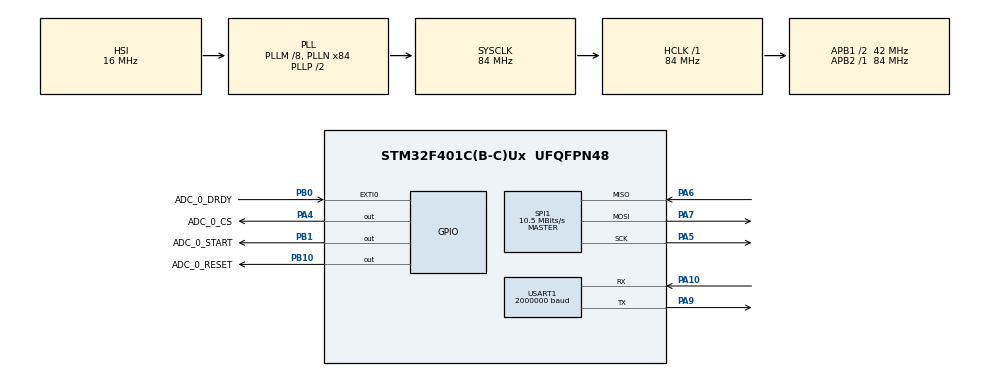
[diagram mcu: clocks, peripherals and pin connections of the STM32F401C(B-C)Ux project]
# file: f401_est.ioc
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Dma.Request0=USART1_RX
Dma.Request1=USART1_TX
Dma.USART1_RX.0.Direction=DMA_PERIPH_TO_MEMORY
Dma.USART1_RX.0.FIFOMode=DMA_FIFOMODE_DISABLE
Dma.USART1_RX.0.Instance=DMA2_Stream2
Dma.USART1_RX.0.MemDataAlignment=DMA_MDATAALIGN_BYTE
Dma.USART1_RX.0.MemInc=DMA_MINC_ENABLE
Dma.USART1_RX.0.Mode=DMA_CIRCULAR
Dma.USART1_RX.0.PeriphDataAlignment=DMA_PDATAALIGN_BYTE
Dma.USART1_RX.0.PeriphInc=DMA_PINC_DISABLE
Dma.USART1_RX.0.Priority=DMA_PRIORITY_LOW
Dma.USART1_TX.1.Direction=DMA_MEMORY_TO_PERIPH
Dma.USART1_TX.1.FIFOMode=DMA_FIFOMODE_DISABLE
Dma.USART1_TX.1.Instance=DMA2_Stream7
Dma.USART1_TX.1.MemDataAlignment=DMA_MDATAALIGN_BYTE
Dma.USART1_TX.1.MemInc=DMA_MINC_ENABLE
Dma.USART1_TX.1.Mode=DMA_NORMAL
Dma.USART1_TX.1.PeriphDataAlignment=DMA_PDATAALIGN_BYTE
Dma.USART1_TX.1.PeriphInc=DMA_PINC_DISABLE
Dma.USART1_TX.1.Priority=DMA_PRIORITY_LOW
Mcu.Family=STM32F4
Mcu.Name=STM32F401C(B-C)Ux
Mcu.Package=UFQFPN48
NVIC.DMA2_Stream2_IRQn=true\:0\:0\:false\:false\:true\:false
NVIC.DMA2_Stream7_IRQn=true\:0\:0\:false\:false\:true\:false
NVIC.EXTI0_IRQn=true\:0\:0\:false\:false\:true\:true
NVIC.PriorityGroup=NVIC_PRIORITYGROUP_4
NVIC.SPI1_IRQn=true\:0\:0\:false\:false\:true\:true
PA10.Mode=Asynchronous
PA10.Signal=USART1_RX
PA4.GPIO_Label=ADC_0_CS
PA4.PinState=GPIO_PIN_SET
PA4.Signal=GPIO_Output
PA5.Mode=Full_Duplex_Master
PA5.Signal=SPI1_SCK
PA6.Mode=Full_Duplex_Master
PA6.Signal=SPI1_MISO
PA7.Mode=Full_Duplex_Master
PA7.Signal=SPI1_MOSI
PA9.Mode=Asynchronous
PA9.Signal=USART1_TX
PB0.GPIO_Label=ADC_0_DRDY
PB0.GPIO_ModeDefaultEXTI=GPIO_MODE_IT_FALLING
PB0.GPIO_PuPd=GPIO_PULLUP
PB0.Signal=GPXTI0
PB1.GPIO_Label=ADC_0_START
PB1.Signal=GPIO_Output
PB10.GPIO_Label=ADC_0_RESET
PB10.PinState=GPIO_PIN_SET
PB10.Signal=GPIO_Output
ProjectManager.HeapSize=0x200
ProjectManager.StackSize=0x400
ProjectManager.TargetToolchain=MDK-ARM V5
RCC.48MHZClocksFreq_Value=42000000
RCC.AHBFreq_Value=84000000
RCC.APB1CLKDivider=RCC_HCLK_DIV2
RCC.APB1Freq_Value=42000000
RCC.APB1TimFreq_Value=84000000
RCC.APB2Freq_Value=84000000
RCC.APB2TimFreq_Value=84000000
RCC.CortexFreq_Value=84000000
RCC.HCLKFreq_Value=84000000
RCC.HSE_VALUE=25000000
RCC.HSI_VALUE=16000000
RCC.LSE_VALUE=32768
RCC.PLLM=8
RCC.PLLN=84
RCC.SYSCLKFreq_VALUE=84000000
RCC.SYSCLKSource=RCC_SYSCLKSOURCE_PLLCLK
RCC.VCOOutputFreq_Value=168000000
SPI1.BaudRatePrescaler=SPI_BAUDRATEPRESCALER_8
SPI1.CLKPhase=SPI_PHASE_2EDGE
SPI1.CalculateBaudRate=10.5 MBits/s
SPI1.Direction=SPI_DIRECTION_2LINES
SPI1.Mode=SPI_MODE_MASTER
SPI1.VirtualType=VM_MASTER
USART1.BaudRate=2000000
USART1.VirtualMode=VM_ASYNC
board=custom

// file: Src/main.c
/* USER CODE BEGIN Header */
/**
  ******************************************************************************
  * @file           : main.c
  * @brief          : Main program body
  ******************************************************************************
  ** This notice applies to any and all portions of this file
  * that are not between comment pairs USER CODE BEGIN and
  * USER CODE END. Other portions of this file, whether
  * inserted by the user or by software development tools
  * are owned by their respective copyright owners.
  *
  * COPYRIGHT(c) 2019 STMicroelectronics
  *
  * Redistribution and use in source and binary forms, with or without modification,
  * are permitted provided that the following conditions are met:
  *   1. Redistributions of source code must retain the above copyright notice,
  *      this list of conditions and the following disclaimer.
  *   2. Redistributions in binary form must reproduce the above copyright notice,
  *      this list of conditions and the following disclaimer in the documentation
  *      and/or other materials provided with the distribution.
  *   3. Neither the name of STMicroelectronics nor the names of its contributors
  *      may be used to endorse or promote products derived from this software
  *      without specific prior written permission.
  *
  * THIS SOFTWARE IS PROVIDED BY THE COPYRIGHT HOLDERS AND CONTRIBUTORS "AS IS"
  * AND ANY EXPRESS OR IMPLIED WARRANTIES, INCLUDING, BUT NOT LIMITED TO, THE
  * IMPLIED WARRANTIES OF MERCHANTABILITY AND FITNESS FOR A PARTICULAR PURPOSE ARE
  * DISCLAIMED. IN NO EVENT SHALL THE COPYRIGHT HOLDER OR CONTRIBUTORS BE LIABLE
  * FOR ANY DIRECT, INDIRECT, INCIDENTAL, SPECIAL, EXEMPLARY, OR CONSEQUENTIAL
  * DAMAGES (INCLUDING, BUT NOT LIMITED TO, PROCUREMENT OF SUBSTITUTE GOODS OR
  * SERVICES; LOSS OF USE, DATA, OR PROFITS; OR BUSINESS INTERRUPTION) HOWEVER
  * CAUSED AND ON ANY THEORY OF LIABILITY, WHETHER IN CONTRACT, STRICT LIABILITY,
  * OR TORT (INCLUDING NEGLIGENCE OR OTHERWISE) ARISING IN ANY WAY OUT OF THE USE
  * OF THIS SOFTWARE, EVEN IF ADVISED OF THE POSSIBILITY OF SUCH DAMAGE.
  *
  ******************************************************************************
  */
/* USER CODE END Header */

#include "main.h"
#include "dma.h"
#include "spi.h"
#include "usart.h"
#include "gpio.h"

/* USER CODE BEGIN Includes */
#include <string.h>

/* USER CODE END Includes */

/* USER CODE BEGIN PD */
#define delayUs(x) { unsigned int _dcnt; \
      _dcnt=(x*16); \
      while(_dcnt-- > 0) \
      { continue; }\
     }

#define CMD_BYTE  0x41 //0x41 //0x69 //0x69-24daolian  0xf9-18daolian
#define PKT_LENGTH 22//22 //78
#define LED_B		GPIO_PIN_3
#define LED_G		GPIO_PIN_4
#define LED_R		GPIO_PIN_5

//1294 CONFIG
#define ADS1294_CS_L    		HAL_GPIO_WritePin(GPIOA, GPIO_PIN_4, GPIO_PIN_RESET)
#define ADS1294_CS_H    		HAL_GPIO_WritePin(GPIOA, GPIO_PIN_4, GPIO_PIN_SET)
#define ADS1294_START_L    	HAL_GPIO_WritePin(GPIOB, GPIO_PIN_1, GPIO_PIN_RESET)
#define ADS1294_START_H    	HAL_GPIO_WritePin(GPIOB, GPIO_PIN_1, GPIO_PIN_SET)
#define ADS1294_RESET_L    	HAL_GPIO_WritePin(GPIOB, GPIO_PIN_10, GPIO_PIN_RESET)
#define ADS1294_RESET_H    	HAL_GPIO_WritePin(GPIOB, GPIO_PIN_10, GPIO_PIN_SET)

#define RESET 	0x06
#define START   0x08
#define RDATAC	0x10
#define SDATAC	0x11
#define RDATA		0x12
#define RREG 0x20
#define WREG 0x40
#define ID_ADDR				0x00
#define CONFIG1_ADDR	0x01
#define CONFIG2_ADDR	0x02
#define CONFIG3_ADDR	0x03
#define LOFF					0x04

#define CH1SET_ADDR		0x05
#define RLD_SENSP     0x0D
#define RLD_SENSN			0x0E
#define LOFF_SENSP 		0x0F
#define LOFF_SENSN 		0x10
#define LOFF_FLIP 		0x11
#define	GPIO_ADDR			0x14
#define MISC1_ADDR		0x15
#define MISC2_ADDR		0x16
#define CONFIG4_ADDR	0x17
#define ADC1_SRB1			0x20
#define ADC2_SRB1			0x20

/* USER CODE END PD */

/* USER CODE BEGIN PV */

uint32_t g_time_seq;
uint16_t g_seq;
uint8_t g_pkt_buf[PKT_LENGTH];
uint8_t adc1_data_ready=0;
uint8_t g_adc1_buf[64];
uint8_t  aRxBuffer[100] ;
uint8_t send_flag=0;
uint8_t Res=0;
uint8_t g_ContiueSend=0;
uint32_t  g_mstimer=0;
/* USER CODE END PV */

void SystemClock_Config(void);

/* USER CODE BEGIN 0 */
void sendDataTo_device(UART_HandleTypeDef *huart, uint8_t *buf, uint16_t len)
{
		HAL_UART_Transmit_DMA(huart, buf, len);
}

void __printf(UART_HandleTypeDef *huart, uint8_t *buf, uint16_t len)
{
	for(uint16_t i=0;i<len;i++)
	{
		while((huart->Instance->SR & UART_FLAG_TC)==0);//循环发送,直到发送完毕
		huart->Instance->DR = buf[i];
	}
}

void ADS1299_RESET()
{
	ADS1294_RESET_L;
	HAL_Delay(1);
	ADS1294_RESET_H;
}

uint8_t ADS1294_WRITE(uint8_t *tmp_TXData, uint8_t len)
{
		uint8_t ret=0;

		uint8_t tmp_RXData[20];
		ADS1294_CS_L;
		ret=HAL_SPI_TransmitReceive(&hspi1, tmp_TXData, tmp_RXData, len, 1000);
		ADS1294_CS_H;
		delayUs(50);

	return ret;
}

void ADS1294_Init()
{
		uint8_t tmp_TXData[20];

		//soft reset
		memset(tmp_TXData, 0, sizeof(tmp_TXData));
		tmp_TXData[0] = RESET;
		ADS1294_WRITE(tmp_TXData, 1);

		HAL_Delay(10);

		//sdatac command
		memset(tmp_TXData, 0, sizeof(tmp_TXData));
		tmp_TXData[0] = SDATAC;
		ADS1294_WRITE(tmp_TXData, 1);

#if 1
		//write config 1
		memset(tmp_TXData, 0, sizeof(tmp_TXData));
		tmp_TXData[0] = WREG|CONFIG1_ADDR;
		tmp_TXData[1] = 0x00;
		tmp_TXData[2] = 0x64;//0x64; //0x64-1k , 0x63-2k, 0x62-4k, 0x61-8k
		ADS1294_WRITE(tmp_TXData, 3);

		//write config 2
		memset(tmp_TXData, 0, sizeof(tmp_TXData));
		tmp_TXData[0] = WREG|CONFIG2_ADDR;
		tmp_TXData[1] = 0x00;
		tmp_TXData[2] = 0x10;
		ADS1294_WRITE(tmp_TXData, 3);

		//write config 3
		memset(tmp_TXData, 0, sizeof(tmp_TXData));
		tmp_TXData[0] = WREG|CONFIG3_ADDR;
		tmp_TXData[1] = 0x00;
		tmp_TXData[2] = 0xD6;//0x40; //0x60  0xc0
		ADS1294_WRITE(tmp_TXData, 3);

		//write LOFF
		memset(tmp_TXData, 0, sizeof(tmp_TXData));
		tmp_TXData[0] = WREG|LOFF;
		tmp_TXData[1] = 0x00;
		tmp_TXData[2] = 0x13;//	0x1F		??DC????
		//tmp_TXData[2] = 0x0F;//			??DC????  DC??
		ADS1294_WRITE(tmp_TXData, 3);

		//write LOFF_SENSP
		memset(tmp_TXData, 0, sizeof(tmp_TXData));
		tmp_TXData[0] = WREG|LOFF_SENSP;
		tmp_TXData[1] = 0x00;
		tmp_TXData[2] = 0x01;//			??DC????
		ADS1294_WRITE(tmp_TXData, 3);

		//write LOFF_SENSN
		memset(tmp_TXData, 0, sizeof(tmp_TXData));
		tmp_TXData[0] = WREG|LOFF_SENSN;
		tmp_TXData[1] = 0x00;
		tmp_TXData[2] = 0x01;//			??DC????
		ADS1294_WRITE(tmp_TXData, 3);

		//write LOFF_FLIP
		memset(tmp_TXData, 0, sizeof(tmp_TXData));
		tmp_TXData[0] = WREG|LOFF_FLIP;
		tmp_TXData[1] = 0x00;
		tmp_TXData[2] = 0x00;//			??DC????
		ADS1294_WRITE(tmp_TXData, 3);

		//write config 4
		memset(tmp_TXData, 0, sizeof(tmp_TXData));
		tmp_TXData[0] = WREG|CONFIG4_ADDR;
		tmp_TXData[1] = 0x00;
		tmp_TXData[2] = 0x02; //SINGLE SHOT
		ADS1294_WRITE(tmp_TXData, 3);

		//write CHnSET
		memset(tmp_TXData, 0, sizeof(tmp_TXData));//0X00= normal input  0X01=SHORTED 0X02= RLD 0X0  0X03=MVDD
		tmp_TXData[0] = WREG|CH1SET_ADDR;
		tmp_TXData[1] = 0x63;

		tmp_TXData[2] = 0x00;    //1??????????
		tmp_TXData[3] = 0x01;		 //2????????
		tmp_TXData[4] = 0x02;		 //3????RLD??
		tmp_TXData[5] = 0x07;	   //4?? ??VREF-RLD
		ADS1294_WRITE(tmp_TXData, 6);

		memset(tmp_TXData, 0, sizeof(tmp_TXData));
		tmp_TXData[0] = WREG|RLD_SENSP;
		tmp_TXData[1] = 0x00;
		tmp_TXData[2] = 0x01; //SINGLE SHOT
		ADS1294_WRITE(tmp_TXData, 3);

		memset(tmp_TXData, 0, sizeof(tmp_TXData));
		tmp_TXData[0] = WREG|RLD_SENSN;
		tmp_TXData[1] = 0x00;
		tmp_TXData[2] = 0x01; //SINGLE SHOT
		ADS1294_WRITE(tmp_TXData, 3);

//		tmp_TXData[1] = 0x07;
//		tmp_TXData[2] = 0x00;
//		if(adc_num == 1)
//			tmp_TXData[6] = 0x04;
//			tmp_TXData[9] = 0x04; //stonemm   0x01  0x04??
//		ADC_WRITE(adc_num, tmp_TXData, 10);

		HAL_Delay(1);

	#endif
}

void ADS1294_PowerOnInit(void)
{
	//if(__DEBUG) printf_stone("read ADS1299 ID\r\n");
	uint8_t ret=0;
	uint8_t tmp_TXData[20],tmp_RXData[20];

	ADS1294_START_L;

	//hard reset
	ADS1299_RESET();

	HAL_Delay(100);

	//read adc ID
	ADS1294_Init();
	do{
		memset(tmp_TXData, 0, sizeof(tmp_TXData));
		tmp_TXData[0] = RREG|ID_ADDR;
		tmp_TXData[1] = 0x01;
		ADS1294_CS_L;
		ret=HAL_SPI_TransmitReceive(&hspi1, tmp_TXData, tmp_RXData, 4, 1000);
		ADS1294_CS_H;
		printf("ADS1294 ID = %02x %02x %02x %02x\r\n", tmp_RXData[0], tmp_RXData[1], tmp_RXData[2], tmp_RXData[3]);
		//printf("ret %d \r\n",ret);
		//HAL_Delay(100);
	}while(tmp_RXData[2]!=0x90);
	HAL_Delay(100);

	ADS1294_START_H; //bypass adc1

	//RDATAC
	memset(tmp_TXData, 0, sizeof(tmp_TXData));
	tmp_TXData[0] = RDATAC;
	ADS1294_WRITE(tmp_TXData, 1);
//	ADS1294_WRITE( tmp_TXData, 1);
}
/* USER CODE END 0 */

int main(void)
{

  /* MCU Configuration--------------------------------------------------------*/

  /* Reset of all peripherals, Initializes the Flash interface and the Systick. */
  HAL_Init();

  /* Configure the system clock */
  SystemClock_Config();

  /* Initialize all configured peripherals */
  MX_GPIO_Init();
  MX_DMA_Init();
  MX_USART1_UART_Init();
  MX_SPI1_Init();
  /* USER CODE BEGIN 2 */
	HAL_UART_Receive_DMA(&huart1, &Res, 1);
	HAL_GPIO_WritePin(GPIOB, GPIO_PIN_3|GPIO_PIN_4|GPIO_PIN_5, GPIO_PIN_SET);
	g_time_seq = 0;
	g_seq = 0;
	adc1_data_ready = 0;

	memset(g_adc1_buf, 0, sizeof(g_adc1_buf));
	HAL_Delay(1);
	ADS1294_PowerOnInit();
	HAL_Delay(1);
	 HAL_Delay(1500);
  /* USER CODE END 2 */

  /* Infinite loop */
  while (1)
  {

    /* USER CODE BEGIN 3 */
#if 0
		if(adc1_data_ready == 1)
		{
			memset(g_pkt_buf, 0, sizeof(g_pkt_buf));
			g_pkt_buf[0] = 0xFD;
			g_pkt_buf[1] = 0xA6;
			g_pkt_buf[2] = PKT_LENGTH; //pkt length, 8 daolian=30, 16 daolian=54, 24 daolian=78, 32 daolian=102
			g_pkt_buf[3] = 0x11; //ECG和gsensor的区别
			g_pkt_buf[4] = CMD_BYTE; //cmd bit7-4 0000 1ch 0001 2ch, bit3 0 16bit 1 24bit, bit2-0 000-500hz 001-1khz 010-2khz

			g_pkt_buf[PKT_LENGTH-7] = 0x55; //DEV_ID
			g_time_seq++;
			g_pkt_buf[PKT_LENGTH-6] = g_time_seq>>24;
			g_pkt_buf[PKT_LENGTH-5] = g_time_seq>>16;
			g_pkt_buf[PKT_LENGTH-4] = g_time_seq>>8;
			g_pkt_buf[PKT_LENGTH-3] = g_time_seq;
			g_seq++;
			g_pkt_buf[PKT_LENGTH-2] = g_seq>>8;
			g_pkt_buf[PKT_LENGTH-1] = g_seq;
			//sendDataTo_device(&huart1, g_pkt_buf, PKT_LENGTH);
			__printf(&huart1, g_pkt_buf, PKT_LENGTH);

			adc1_data_ready = 0;
			//HAL_Delay(1);
		}
#else
		if(adc1_data_ready == 1)
		{
			adc1_data_ready = 0;
			memset(g_pkt_buf, 0, sizeof(g_pkt_buf));
			g_pkt_buf[0] = 0xFD;
			g_pkt_buf[1] = 0xA6;
			g_pkt_buf[2] = PKT_LENGTH; //pkt length, 8 daolian=30, 16 daolian=54, 24 daolian=78, 32 daolian=102
			g_pkt_buf[3] = 0x11; //ECG和gsensor的区别
			g_pkt_buf[4] = CMD_BYTE; //cmd bit7-4 0000 1ch 0001 2ch, bit3 0 16bit 1 24bit, bit2-0 000-500hz 001-1khz 010-2khz

			memcpy(&g_pkt_buf[5], g_adc1_buf, 15);
			for(int i=0; i<2; i++)
			{
				g_pkt_buf[5+i*3] ^= 0x80;
			}

			g_pkt_buf[5]=g_pkt_buf[5+1*3];
			g_pkt_buf[6]=g_pkt_buf[5+1*3+1];
			g_pkt_buf[7]=g_pkt_buf[5+1*3+2];

			g_pkt_buf[9]=0;
			g_pkt_buf[10]=((g_adc1_buf[0]<<4)|(g_adc1_buf[1]>>4))&0x01;

			g_pkt_buf[11]=0;
			g_pkt_buf[12]=((g_adc1_buf[1]<<4)|(g_adc1_buf[2]>>4))&0x01;

			if(g_pkt_buf[10]==0 &&g_pkt_buf[12]==0)
			{

				HAL_GPIO_WritePin(GPIOB, GPIO_PIN_3|GPIO_PIN_4|GPIO_PIN_5, GPIO_PIN_SET);
				HAL_GPIO_WritePin(GPIOB, LED_G, GPIO_PIN_RESET);
			}
			else
			{
				HAL_GPIO_WritePin(GPIOB, GPIO_PIN_3|GPIO_PIN_4|GPIO_PIN_5, GPIO_PIN_SET);
				HAL_GPIO_WritePin(GPIOB, LED_R, GPIO_PIN_RESET);
			}

//			g_pkt_buf[5]=0;
//			g_pkt_buf[5+1]=((g_adc1_buf[0]<<4)|(g_adc1_buf[1]>>4))&0x01;
//			g_pkt_buf[5+2]=0;
//
//			g_pkt_buf[5+2*3]=0;
//			g_pkt_buf[5+2*3+1]=((g_adc1_buf[1]<<4)|(g_adc1_buf[2]>>4))&0x01;
//			g_pkt_buf[5+2*3+2]=0;
//
//			g_pkt_buf[5+12*3+2]=g_pkt_buf[5+1*3+2];
//			g_pkt_buf[5+12*3+1]=g_pkt_buf[5+1*3+1];
//			g_pkt_buf[5+12*3+0]=g_pkt_buf[5+1*3];
//
//			g_pkt_buf[5+12*3+2] |= 0x01;
//
//			g_pkt_buf[PKT_LENGTH-7] = 0x55; //DEV_ID
//			g_time_seq++;
//			g_pkt_buf[PKT_LENGTH-6] = g_time_seq>>24;
//			g_pkt_buf[PKT_LENGTH-5] = g_time_seq>>16;
//			g_pkt_buf[PKT_LENGTH-4] = g_time_seq>>8;
//			g_pkt_buf[PKT_LENGTH-3] = g_time_seq;

			g_seq++;
			g_pkt_buf[PKT_LENGTH-2] = g_seq>>8;
			g_pkt_buf[PKT_LENGTH-1] = g_seq;

//			sendDataTo_device(&huart1, g_pkt_buf, PKT_LENGTH);
//			__printf(&huart1, g_pkt_buf, PKT_LENGTH);
			g_mstimer++;
			if(g_mstimer>2000)
				g_ContiueSend=1;
			if(g_ContiueSend==1)
				sendDataTo_device(&huart1, g_pkt_buf, PKT_LENGTH);

		}

		if(send_flag)
		{
			send_flag=0;
//			__printf(&huart1, g_pkt_buf, PKT_LENGTH);
			sendDataTo_device(&huart1, g_pkt_buf, PKT_LENGTH);
		}

#endif
  }
  /* USER CODE END 3 */
}

void SystemClock_Config(void)
{
  RCC_OscInitTypeDef RCC_OscInitStruct = {0};
  RCC_ClkInitTypeDef RCC_ClkInitStruct = {0};

  /**Configure the main internal regulator output voltage
  */
  __HAL_RCC_PWR_CLK_ENABLE();
  __HAL_PWR_VOLTAGESCALING_CONFIG(PWR_REGULATOR_VOLTAGE_SCALE2);
  /**Initializes the CPU, AHB and APB busses clocks
  */
  RCC_OscInitStruct.OscillatorType = RCC_OSCILLATORTYPE_HSI;
  RCC_OscInitStruct.HSIState = RCC_HSI_ON;
  RCC_OscInitStruct.HSICalibrationValue = RCC_HSICALIBRATION_DEFAULT;
  RCC_OscInitStruct.PLL.PLLState = RCC_PLL_ON;
  RCC_OscInitStruct.PLL.PLLSource = RCC_PLLSOURCE_HSI;
  RCC_OscInitStruct.PLL.PLLM = 8;
  RCC_OscInitStruct.PLL.PLLN = 84;
  RCC_OscInitStruct.PLL.PLLP = RCC_PLLP_DIV2;
  RCC_OscInitStruct.PLL.PLLQ = 4;
  if (HAL_RCC_OscConfig(&RCC_OscInitStruct) != HAL_OK)
  {
    Error_Handler();
  }
  /**Initializes the CPU, AHB and APB busses clocks
  */
  RCC_ClkInitStruct.ClockType = RCC_CLOCKTYPE_HCLK|RCC_CLOCKTYPE_SYSCLK
                              |RCC_CLOCKTYPE_PCLK1|RCC_CLOCKTYPE_PCLK2;
  RCC_ClkInitStruct.SYSCLKSource = RCC_SYSCLKSOURCE_PLLCLK;
  RCC_ClkInitStruct.AHBCLKDivider = RCC_SYSCLK_DIV1;
  RCC_ClkInitStruct.APB1CLKDivider = RCC_HCLK_DIV2;
  RCC_ClkInitStruct.APB2CLKDivider = RCC_HCLK_DIV1;

  if (HAL_RCC_ClockConfig(&RCC_ClkInitStruct, FLASH_LATENCY_2) != HAL_OK)
  {
    Error_Handler();
  }
}

/* USER CODE BEGIN 4 */
void HAL_GPIO_EXTI_Callback(uint16_t GPIO_Pin)
{
	uint8_t tmp_TXData_1[64],tmp_RXData_1[64];

	memset(tmp_TXData_1, 0, sizeof(tmp_TXData_1));

		//AD2 READY
	if(GPIO_Pin == GPIO_PIN_0)
  {
		if(adc1_data_ready == 0)
		{
			memset(g_adc1_buf, 0, sizeof(g_adc1_buf));
			memset(tmp_RXData_1, 0, sizeof(tmp_RXData_1));
			ADS1294_CS_L;
			HAL_SPI_TransmitReceive(&hspi1, tmp_TXData_1, tmp_RXData_1, 15, 1000);
			ADS1294_CS_H;
			//memcpy(&g_pkt_buf[29], &tmp_RXData[3], 24);
			memcpy(g_adc1_buf, tmp_RXData_1, 15);
			adc1_data_ready = 1;
		}
	}

}

void HAL_UART_RxCpltCallback(UART_HandleTypeDef *huart)
{
	int ret=0 ;
	if(huart == &huart1)
	{

//		do
//		{
//			ret = HAL_UART_Receive_IT(&huart1, (uint8_t *)aRxBuffer, 1);
//		}while(ret != HAL_OK);

		if(Res==0xaa)
		{
		    send_flag=1;
		}
		g_mstimer=0;
	}

}

/* USER CODE END 4 */

void Error_Handler(void)
{
}

/************************ (C) COPYRIGHT STMicroelectronics *****END OF FILE****/
